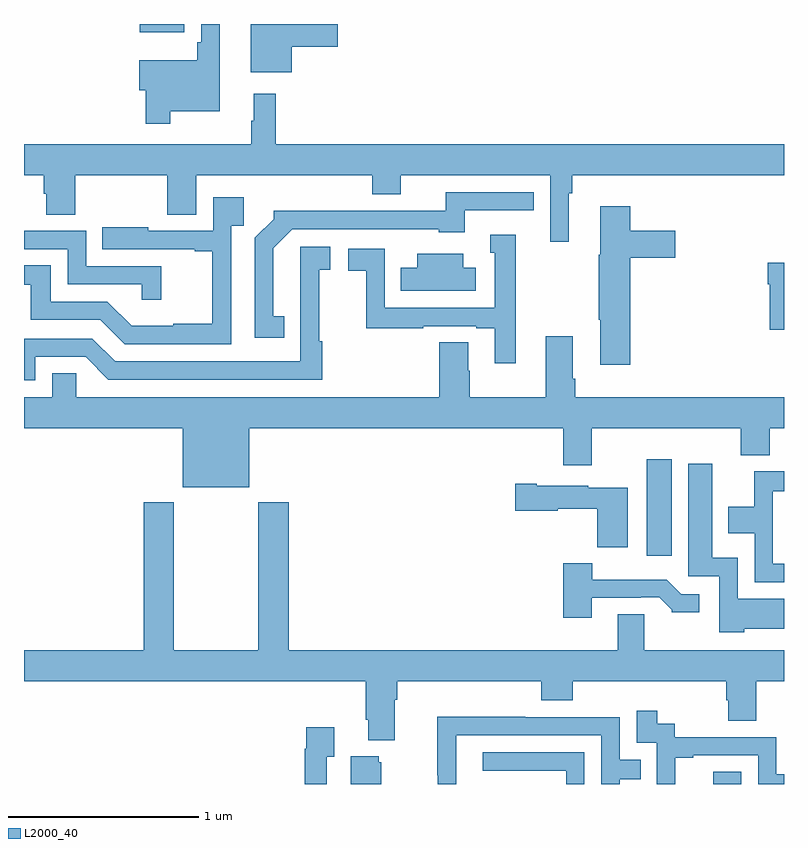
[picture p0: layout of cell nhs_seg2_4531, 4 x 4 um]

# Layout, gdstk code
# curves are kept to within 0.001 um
import gdstk
lib = gdstk.Library(unit=1e-6, precision=1e-09)
def R(c, l, rs):  # rectangles x0, y0, x1, y1
    for r in rs: c.add(gdstk.rectangle(r[:2], r[2:], *l))
def P(c, l, *ps):  # polygons
    for p in ps: c.add(gdstk.Polygon(p, *l))
L2000_40 = (2000, 40)

nhs_seg2_4531 = lib.new_cell('nhs_seg2_4531')
R(nhs_seg2_4531, L2000_40, [(360.627,609.8,360.774,609.865), (360.278,611.001,360.409,611.509), (357.608,613.757,357.844,613.8)])
P(nhs_seg2_4531, L2000_40, [(358.408,613.679),(358.651,613.679),(358.651,613.8),(358.193,613.8),(358.193,613.547),(358.408,613.547)],
  [(357.769,613.34),(358.03,613.34),(358.03,613.8),(357.933,613.8),(357.933,613.705),(357.913,613.705),(357.913,613.609),(357.606,613.609),(357.606,613.451),(357.64,613.451),(357.64,613.275),(357.769,613.275)],
  [(357,613.004),(357.104,613.004),(357.104,612.906),(357.116,612.906),(357.116,612.796),(357.269,612.796),(357.269,613.004),(357.755,613.004),(357.755,612.796),(357.907,612.796),(357.907,613.004),(358.832,613.004),(358.832,612.905),(358.984,612.905),(358.984,613.004),(359.769,613.004),(359.769,612.654),(359.866,612.654),(359.866,612.908),(359.885,612.908),(359.885,613.004),(361,613.004),(361,613.168),(358.325,613.168),(358.325,613.432),(358.208,613.432),(358.208,613.292),(358.197,613.292),(358.197,613.168),(357,613.168)],
  [(358.37,612.263),(358.312,612.263),(358.312,612.619),(358.413,612.72),(359.184,612.72),(359.184,612.704),(359.32,612.704),(359.32,612.819),(359.684,612.819),(359.684,612.915),(359.221,612.915),(359.221,612.816),(358.748,612.816),(358.748,612.818),(358.314,612.818),(358.314,612.773),(358.215,612.674),(358.215,612.15),(358.37,612.15)],
  [(358.092,612.737),(358.157,612.737),(358.157,612.889),(357.996,612.889),(357.996,612.711),(357.655,612.711),(357.655,612.73),(357.412,612.73),(357.412,612.615),(357.899,612.615),(357.899,612.603),(357.991,612.603),(357.991,612.223),(357.785,612.223),(357.785,612.211),(357.566,612.211),(357.438,612.339),(357.142,612.339),(357.142,612.53),(357.002,612.53),(357.002,612.427),(357.035,612.427),(357.035,612.243),(357.402,612.243),(357.531,612.114),(358.092,612.114)],
  [(360.191,612.569),(360.427,612.569),(360.427,612.711),(360.191,612.711),(360.191,612.841),(360.032,612.841),(360.032,612.585),(360.025,612.585),(360.025,612.244),(360.032,612.244),(360.032,612.006),(360.191,612.006)],
  [(357.722,612.525),(357.327,612.525),(357.327,612.711),(357,612.711),(357,612.615),(357.231,612.615),(357.231,612.429),(357.621,612.429),(357.621,612.348),(357.722,612.348)],
  [(359.587,612.691),(359.453,612.691),(359.453,612.597),(359.478,612.597),(359.478,612.306),(358.899,612.306),(358.899,612.618),(358.707,612.618),(358.707,612.502),(358.801,612.502),(358.801,612.198),(359.102,612.198),(359.102,612.21),(359.381,612.21),(359.381,612.198),(359.477,612.198),(359.477,612.015),(359.587,612.015)],
  [(357.06,612.048),(357.324,612.048),(357.444,611.928),(358.571,611.928),(358.571,612.131),(358.554,612.131),(358.554,612.507),(358.612,612.507),(358.612,612.628),(358.454,612.628),(358.455,612.024),(357.48,612.024),(357.36,612.144),(357,612.144),(357,611.925),(357.06,611.925)],
  [(359.377,612.517),(359.311,612.517),(359.311,612.592),(359.069,612.592),(359.069,612.517),(358.984,612.517),(358.984,612.395),(359.377,612.395)],
  [(361,612.544),(360.914,612.544),(360.914,612.431),(360.926,612.431),(360.926,612.191),(361,612.191)],
  [(359.186,612.125),(359.186,611.836),(357.276,611.836),(357.276,611.963),(357.149,611.963),(357.149,611.836),(357,611.836),(357,611.672),(357.836,611.672),(357.836,611.363),(358.186,611.363),(358.186,611.672),(359.837,611.672),(359.837,611.478),(359.989,611.478),(359.989,611.672),(360.773,611.672),(360.773,611.531),(360.925,611.531),(360.925,611.672),(361,611.672),(361,611.836),(359.9,611.836),(359.9,611.932),(359.887,611.932),(359.887,612.157),(359.747,612.157),(359.747,611.836),(359.346,611.836),(359.346,611.975),(359.338,611.975),(359.338,612.125)],
  [(360.792,610.616),(361,610.616),(361,610.774),(360.756,610.774),(360.756,610.99),(360.622,610.99),(360.622,611.485),(360.497,611.485),(360.497,610.893),(360.66,610.893),(360.66,610.598),(360.792,610.598)],
  [(361,610.959),(360.942,610.959),(360.942,611.342),(361,611.342),(361,611.446),(360.844,611.446),(360.844,611.26),(360.707,611.26),(360.707,611.12),(360.846,611.12),(360.846,610.863),(361,610.863)],
  [(360.178,611.359),(359.97,611.359),(359.97,611.371),(359.698,611.371),(359.698,611.379),(359.586,611.379),(359.586,611.237),(359.808,611.237),(359.808,611.249),(360.016,611.249),(360.016,611.045),(360.178,611.045)],
  [(358.234,611.284),(358.234,610.504),(357.789,610.504),(357.789,611.284),(357.629,611.284),(357.629,610.504),(357,610.504),(357,610.34),(358.799,610.34),(358.799,610.138),(358.811,610.138),(358.811,610.031),(358.951,610.031),(358.951,610.244),(358.964,610.244),(358.964,610.34),(359.723,610.34),(359.723,610.241),(359.888,610.241),(359.888,610.34),(360.695,610.34),(360.695,610.242),(360.707,610.242),(360.707,610.132),(360.855,610.132),(360.855,610.34),(361,610.34),(361,610.504),(360.265,610.504),(360.265,610.694),(360.125,610.694),(360.125,610.504),(358.394,610.504),(358.394,611.284)],
  [(359.989,610.779),(360.245,610.779),(360.245,610.782),(360.344,610.782),(360.408,610.718),(360.408,610.703),(360.553,610.703),(360.553,610.8),(360.459,610.8),(360.383,610.876),(359.992,610.876),(359.992,610.963),(359.837,610.963),(359.837,610.674),(359.989,610.674)],
  [(360.428,609.939),(360.523,609.939),(360.523,609.951),(360.864,609.951),(360.864,609.8),(361,609.8),(361,609.852),(360.96,609.852),(360.96,610.047),(360.426,610.047),(360.426,610.116),(360.334,610.116),(360.334,610.186),(360.225,610.186),(360.225,610.017),(360.33,610.017),(360.33,609.8),(360.428,609.8)],
  [(359.274,610.056),(360.039,610.056),(360.039,609.8),(360.135,609.8),(360.135,609.826),(360.245,609.826),(360.245,609.927),(360.135,609.927),(360.135,610.152),(359.639,610.152),(359.639,610.154),(359.176,610.154),(359.176,609.847),(359.178,609.847),(359.178,609.8),(359.274,609.8)],
  [(358.593,609.943),(358.633,609.943),(358.633,610.099),(358.485,610.099),(358.485,609.986),(358.477,609.986),(358.477,609.8),(358.593,609.8)],
  [(359.949,609.966),(359.415,609.966),(359.415,609.87),(359.853,609.87),(359.853,609.8),(359.949,609.8)],
  [(358.879,609.915),(358.868,609.915),(358.868,609.946),(358.721,609.946),(358.721,609.8),(358.879,609.8)])

lib.write_gds('nhs_seg2_4531.gds')
